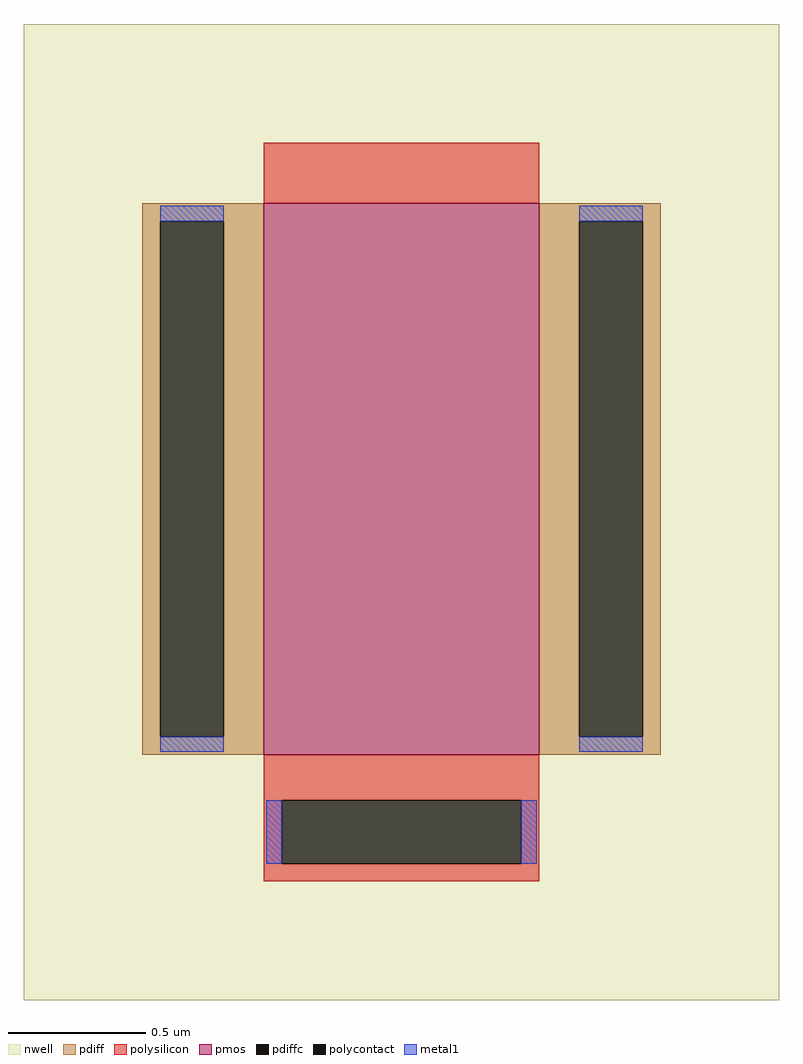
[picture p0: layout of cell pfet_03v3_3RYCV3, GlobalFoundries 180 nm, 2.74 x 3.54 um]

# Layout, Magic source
magic
tech gf180mcuD
magscale 1 10
<< nwell >>
rect -274 -354 274 354
<< pmos >>
rect -100 -176 100 224
<< pdiff >>
rect -188 211 -100 224
rect -188 -163 -175 211
rect -129 -163 -100 211
rect -188 -176 -100 -163
rect 100 211 188 224
rect 100 -163 129 211
rect 175 -163 188 211
rect 100 -176 188 -163
<< pdiffc >>
rect -175 -163 -129 211
rect 129 -163 175 211
<< polysilicon >>
rect -100 224 100 268
rect -100 -209 100 -176
rect -100 -255 -87 -209
rect 87 -255 100 -209
rect -100 -268 100 -255
<< polycontact >>
rect -87 -255 87 -209
<< metal1 >>
rect -175 211 -129 222
rect -175 -174 -129 -163
rect 129 211 175 222
rect 129 -174 175 -163
rect -98 -255 -87 -209
rect 87 -255 98 -209
<< properties >>
string gencell pfet_03v3
string library gf180mcu
string parameters w 2 l 1 m 1 nf 1 diffcov 100 polycov 100 guard 0 glc 0 grc 0 gtc 0 gbc 0 tbcov 100 rlcov 100 topc 0 botc 1 poverlap 0 doverlap 1 lmin 0.28 wmin 0.22 class mosfet full_metal 0 compatible {pfet_03v3 pfet_05v0 pfet_06v0}
<< end >>
